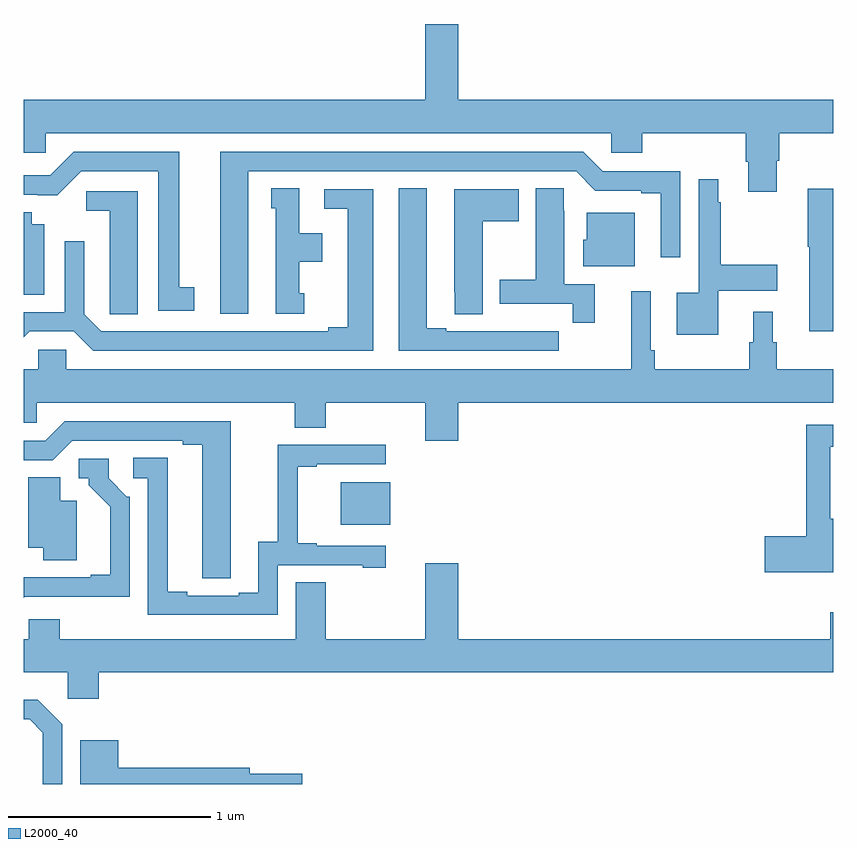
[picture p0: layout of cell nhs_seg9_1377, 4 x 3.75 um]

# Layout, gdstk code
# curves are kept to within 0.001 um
import gdstk
lib = gdstk.Library(unit=1e-6, precision=1e-09)
def R(c, l, rs):  # rectangles x0, y0, x1, y1
    for r in rs: c.add(gdstk.rectangle(r[:2], r[2:], *l))
def P(c, l, *ps):  # polygons
    for p in ps: c.add(gdstk.Polygon(p, *l))
L2000_40 = (2000, 40)

nhs_seg9_1377 = lib.new_cell('nhs_seg9_1377')
R(nhs_seg9_1377, L2000_40, [(188.567,1231.781,188.812,1231.99)])
P(nhs_seg9_1377, L2000_40, [(190.72,1233.579),(190.733,1233.579),(190.733,1233.716),(191,1233.716),(191,1233.88),(189.148,1233.88),(189.148,1234.255),(188.984,1234.255),(188.984,1233.88),(187,1233.88),(187,1233.618),(187.11,1233.618),(187.11,1233.716),(189.903,1233.716),(189.903,1233.618),(190.055,1233.618),(190.055,1233.716),(190.568,1233.716),(190.568,1233.574),(190.58,1233.574),(190.58,1233.426),(190.72,1233.426)],
  [(188.11,1233.528),(189.729,1233.528),(189.825,1233.432),(190.052,1233.432),(190.052,1233.42),(190.148,1233.42),(190.148,1233.102),(190.245,1233.102),(190.245,1233.528),(189.861,1233.528),(189.765,1233.624),(187.97,1233.624),(187.97,1232.823),(188.11,1232.823)],
  [(187.843,1232.954),(187.768,1232.954),(187.768,1233.624),(187.248,1233.624),(187.131,1233.507),(187,1233.507),(187,1233.411),(187.166,1233.41),(187.284,1233.528),(187.664,1233.528),(187.664,1232.838),(187.843,1232.838)],
  [(190.432,1232.936),(190.723,1232.936),(190.723,1233.066),(190.444,1233.066),(190.444,1233.374),(190.432,1233.374),(190.432,1233.487),(190.335,1233.487),(190.335,1232.926),(190.226,1232.926),(190.226,1232.72),(190.432,1232.72)],
  [(189.643,1232.736),(189.53,1232.736),(189.53,1232.737),(189.364,1232.737),(189.364,1232.736),(189.088,1232.736),(189.088,1232.751),(188.992,1232.751),(188.992,1233.443),(188.852,1233.443),(188.852,1232.64),(189.643,1232.64)],
  [(188.386,1232.925),(188.362,1232.925),(188.362,1233.08),(188.476,1233.08),(188.476,1233.22),(188.362,1233.22),(188.362,1233.443),(188.222,1233.443),(188.222,1233.345),(188.246,1233.345),(188.246,1232.823),(188.386,1232.823)],
  [(189.821,1232.97),(189.67,1232.97),(189.67,1233.332),(189.669,1233.332),(189.669,1233.443),(189.53,1233.443),(189.53,1232.991),(189.353,1232.991),(189.353,1232.874),(189.712,1232.874),(189.712,1232.778),(189.821,1232.778)],
  [(191,1233.442),(190.873,1233.442),(190.873,1233.154),(190.88,1233.154),(190.88,1232.736),(191,1232.736)],
  [(189.268,1233.28),(189.445,1233.28),(189.445,1233.439),(189.128,1233.439),(189.128,1232.929),(189.129,1232.929),(189.129,1232.821),(189.268,1232.821)],
  [(188.728,1233.438),(188.484,1233.438),(188.484,1233.342),(188.6,1233.342),(188.6,1232.756),(188.504,1232.756),(188.504,1232.736),(187.383,1232.736),(187.299,1232.82),(187.299,1233.181),(187.203,1233.181),(187.203,1232.832),(187,1232.832),(187,1232.707),(187.029,1232.736),(187.247,1232.736),(187.343,1232.64),(188.728,1232.64)],
  [(187.564,1233.429),(187.308,1233.429),(187.308,1233.332),(187.424,1233.332),(187.424,1232.929),(187.425,1232.929),(187.425,1232.821),(187.564,1232.821)],
  [(187.102,1233.265),(187.039,1233.265),(187.039,1233.326),(187,1233.326),(187,1232.917),(187.102,1232.917)],
  [(190.018,1233.322),(189.782,1233.322),(189.782,1233.189),(189.764,1233.189),(189.764,1233.059),(190.018,1233.059)],
  [(189.148,1232.384),(191,1232.384),(191,1232.548),(190.721,1232.548),(190.721,1232.682),(190.702,1232.682),(190.702,1232.833),(190.604,1232.833),(190.604,1232.682),(190.585,1232.682),(190.585,1232.548),(190.118,1232.548),(190.118,1232.644),(190.098,1232.644),(190.098,1232.935),(190.001,1232.935),(190.001,1232.548),(187.209,1232.548),(187.209,1232.646),(187.071,1232.646),(187.071,1232.548),(187,1232.548),(187,1232.286),(187.065,1232.286),(187.065,1232.384),(188.338,1232.384),(188.338,1232.26),(188.493,1232.26),(188.493,1232.384),(188.984,1232.384),(188.984,1232.196),(189.148,1232.196)],
  [(188.022,1231.624),(188.023,1232.292),(187.203,1232.292),(187.107,1232.196),(187,1232.196),(187,1232.1),(187.143,1232.1),(187.239,1232.196),(187.787,1232.196),(187.787,1232.176),(187.883,1232.176),(187.883,1231.516),(188.022,1231.516)],
  [(191,1231.81),(190.985,1231.81),(190.985,1232.166),(191,1232.166),(191,1232.274),(190.867,1232.274),(190.867,1231.724),(190.662,1231.724),(190.662,1231.546),(191,1231.546)],
  [(188.256,1231.581),(188.675,1231.581),(188.675,1231.569),(188.788,1231.569),(188.788,1231.677),(188.449,1231.677),(188.449,1231.69),(188.354,1231.69),(188.354,1232.067),(188.449,1232.067),(188.449,1232.079),(188.788,1232.079),(188.788,1232.175),(188.254,1232.175),(188.254,1231.697),(188.159,1231.697),(188.159,1231.446),(188.063,1231.446),(188.063,1231.431),(187.807,1231.431),(187.807,1231.451),(187.711,1231.451),(187.711,1232.111),(187.542,1232.111),(187.542,1232.01),(187.614,1232.01),(187.614,1231.335),(188.256,1231.335)],
  [(187.005,1231.425),(187.524,1231.424),(187.524,1231.92),(187.509,1231.92),(187.419,1232.01),(187.419,1232.106),(187.272,1232.106),(187.272,1232.01),(187.322,1232.01),(187.322,1231.975),(187.427,1231.87),(187.427,1231.534),(187.331,1231.534),(187.331,1231.521),(187,1231.522),(187,1231.42)],
  [(187.261,1231.9),(187.18,1231.9),(187.18,1232.015),(187.022,1232.015),(187.022,1231.667),(187.097,1231.667),(187.097,1231.606),(187.261,1231.606)],
  [(187.178,1231.314),(187.026,1231.314),(187.026,1231.216),(187,1231.216),(187,1231.052),(187.218,1231.052),(187.218,1230.921),(187.37,1230.921),(187.37,1231.052),(191,1231.052),(191,1231.348),(190.985,1231.348),(190.985,1231.216),(189.148,1231.216),(189.148,1231.591),(188.984,1231.591),(188.984,1231.216),(188.493,1231.216),(188.493,1231.496),(188.345,1231.496),(188.345,1231.216),(187.178,1231.216)],
  [(187.191,1230.795),(187.07,1230.916),(187,1230.916),(187,1230.819),(187.029,1230.819),(187.095,1230.753),(187.095,1230.5),(187.191,1230.5)],
  [(188.377,1230.551),(188.116,1230.551),(188.116,1230.58),(187.468,1230.58),(187.468,1230.715),(187.28,1230.715),(187.28,1230.5),(188.377,1230.5)])

lib.write_gds('nhs_seg9_1377.gds')
